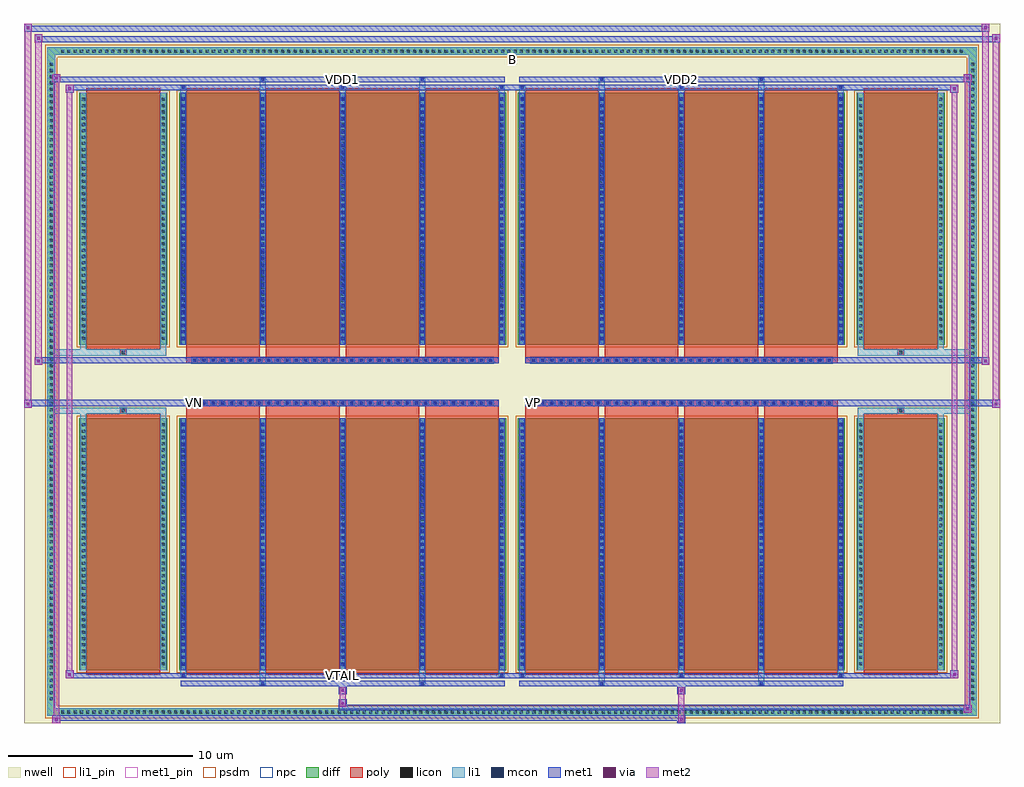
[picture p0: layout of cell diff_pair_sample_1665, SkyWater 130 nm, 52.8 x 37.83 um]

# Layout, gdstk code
import gdstk
lib = gdstk.Library(unit=1e-6, precision=5e-09)
def R(c, l, rs):  # rectangles x0, y0, x1, y1
    for r in rs: c.add(gdstk.rectangle(r[:2], r[2:], *l))
def A(c, l, x, y, w, h, nx, ny, dx, dy):  # array of equal rectangles
    R(c, l, [(x+i*dx, y+j*dy, x+i*dx+w, y+j*dy+h) for i in range(nx) for j in range(ny)])
def P(c, l, *ps):  # polygons
    for p in ps: c.add(gdstk.Polygon(p, *l))
nwell = (64, 20)
diff = (65, 20)
poly = (66, 20)
licon = (66, 44)
li1_pin = (67, 16)
li1 = (67, 20)
mcon = (67, 44)
met1_pin = (68, 16)
met1 = (68, 20)
via = (68, 44)
met2 = (69, 20)
psdm = (94, 20)
npc = (95, 20)

diff_pair_sample_1665 = lib.new_cell('diff_pair_sample_1665')
R(diff_pair_sample_1665, nwell, [(-26.4,-18.48,26.4,19.35), (-23.72,-16.67,-0.01,-0.795), (0.01,-16.67,23.72,-0.795), (-23.72,0.795,-0.01,16.67), (0.01,0.795,23.72,16.67)])
A(diff_pair_sample_1665, diff, -24.515, -18.08, 0.41, 0.41, 144, 2, 0.34, 35.75)
A(diff_pair_sample_1665, diff, -25.13, -17.375, 0.41, 0.41, 1, 102, 0, 0.34)
A(diff_pair_sample_1665, diff, 24.72, -17.375, 0.41, 0.41, 1, 102, 0, 0.34)
R(diff_pair_sample_1665, diff, [(-24.515,-18.08,24.515,-17.67), (-25.13,-17.375,-24.72,17.375), (24.72,-17.375,25.13,17.375), (-23.41,-15.625,-18.65,-1.985), (-18.01,-15.625,-0.32,-1.985), (0.32,-15.625,18.01,-1.985), (18.65,-15.625,23.41,-1.985), (-23.41,1.985,-18.65,15.625), (-18.01,1.985,-0.32,15.625), (0.32,1.985,18.01,15.625), (18.65,1.985,23.41,15.625), (-24.515,17.67,24.515,18.08)])
P(diff_pair_sample_1665, diff, [(25.13,18.08),(-25.13,18.08),(-25.13,-17.67),(-24.72,-17.67),(-24.72,17.67),(24.72,17.67),(24.72,-17.67),(-24.72,-17.67),(-25.13,-17.67),(-25.13,-18.08),(25.13,-18.08)])
A(diff_pair_sample_1665, poly, -17.62, -15.875, 3.98, 14.14, 4, 2, 4.31, 17.61)
A(diff_pair_sample_1665, poly, 0.71, -15.875, 3.98, 14.14, 4, 2, 4.31, 17.61)
A(diff_pair_sample_1665, poly, -17.62, -1.735, 3.98, 0.41, 4, 2, 4.31, 3.06)
A(diff_pair_sample_1665, poly, 0.71, -1.735, 3.98, 0.41, 4, 2, 4.31, 3.06)
A(diff_pair_sample_1665, poly, -17.33, -1.325, 0.33, 0.33, 33, 2, 0.5, 2.32)
A(diff_pair_sample_1665, poly, 1, -1.325, 0.33, 0.33, 33, 2, 0.5, 2.32)
R(diff_pair_sample_1665, poly, [(-23.02,-15.875,-19.04,-1.735), (19.04,-15.875,23.02,-1.735), (-21.195,-1.735,-20.865,-1.405), (-21.195,-1.735,-20.865,-1.405), (20.865,-1.735,21.195,-1.405), (20.865,-1.735,21.195,-1.405), (-17.62,-1.325,-0.71,-0.995), (0.71,-1.325,17.62,-0.995), (-17.62,0.995,-0.71,1.325), (0.71,0.995,17.62,1.325), (-21.195,1.405,-20.865,1.735), (-21.195,1.405,-20.865,1.735), (20.865,1.405,21.195,1.735), (20.865,1.405,21.195,1.735), (-23.02,1.735,-19.04,15.875), (19.04,1.735,23.02,15.875)])
A(diff_pair_sample_1665, licon, -24.395, -17.96, 0.17, 0.17, 144, 2, 0.34, 35.75)
A(diff_pair_sample_1665, licon, -25.01, -17.255, 0.17, 0.17, 1, 102, 0, 0.34)
A(diff_pair_sample_1665, licon, 24.84, -17.255, 0.17, 0.17, 1, 102, 0, 0.34)
A(diff_pair_sample_1665, licon, -23.27, -15.35, 0.17, 0.17, 1, 39, 0, 0.34)
A(diff_pair_sample_1665, licon, -18.96, -15.35, 0.17, 0.17, 1, 39, 0, 0.34)
A(diff_pair_sample_1665, licon, -17.87, -15.35, 0.17, 0.17, 5, 39, 4.31, 0.34)
A(diff_pair_sample_1665, licon, 0.46, -15.35, 0.17, 0.17, 5, 39, 4.31, 0.34)
A(diff_pair_sample_1665, licon, 18.79, -15.35, 0.17, 0.17, 1, 39, 0, 0.34)
A(diff_pair_sample_1665, licon, 23.1, -15.35, 0.17, 0.17, 1, 39, 0, 0.34)
A(diff_pair_sample_1665, licon, -17.25, -1.245, 0.17, 0.17, 33, 2, 0.5, 2.32)
A(diff_pair_sample_1665, licon, 1.08, -1.245, 0.17, 0.17, 33, 2, 0.5, 2.32)
A(diff_pair_sample_1665, licon, -23.27, 2.26, 0.17, 0.17, 1, 39, 0, 0.34)
A(diff_pair_sample_1665, licon, -18.96, 2.26, 0.17, 0.17, 1, 39, 0, 0.34)
A(diff_pair_sample_1665, licon, -17.87, 2.26, 0.17, 0.17, 5, 39, 4.31, 0.34)
A(diff_pair_sample_1665, licon, 0.46, 2.26, 0.17, 0.17, 5, 39, 4.31, 0.34)
A(diff_pair_sample_1665, licon, 18.79, 2.26, 0.17, 0.17, 1, 39, 0, 0.34)
A(diff_pair_sample_1665, licon, 23.1, 2.26, 0.17, 0.17, 1, 39, 0, 0.34)
R(diff_pair_sample_1665, licon, [(-21.115,-1.655,-20.945,-1.485), (20.945,-1.655,21.115,-1.485), (-21.115,1.485,-20.945,1.655), (20.945,1.485,21.115,1.655)])
R(diff_pair_sample_1665, li1_pin, [(-0.25,17.17,0.25,17.67)])
A(diff_pair_sample_1665, li1, -24.475, -18.04, 0.33, 0.33, 144, 2, 0.34, 35.75)
A(diff_pair_sample_1665, li1, -25.09, -17.335, 0.33, 0.33, 1, 102, 0, 0.34)
A(diff_pair_sample_1665, li1, 24.76, -17.335, 0.33, 0.33, 1, 102, 0, 0.34)
A(diff_pair_sample_1665, li1, -17.95, -16, 0.33, 0.375, 3, 2, 8.62, 31.625)
A(diff_pair_sample_1665, li1, -17.87, -16, 0.17, 0.17, 3, 2, 8.62, 31.83)
A(diff_pair_sample_1665, li1, 0.38, -16, 0.33, 0.375, 3, 2, 8.62, 31.625)
A(diff_pair_sample_1665, li1, 0.46, -16, 0.17, 0.17, 3, 2, 8.62, 31.83)
A(diff_pair_sample_1665, li1, -17.95, -15.625, 0.33, 13.64, 5, 2, 4.31, 17.61)
A(diff_pair_sample_1665, li1, 0.38, -15.625, 0.33, 13.64, 5, 2, 4.31, 17.61)
A(diff_pair_sample_1665, li1, -23.35, -15.43, 0.33, 0.33, 1, 39, 0, 0.34)
A(diff_pair_sample_1665, li1, -19.04, -15.43, 0.33, 0.33, 1, 39, 0, 0.34)
A(diff_pair_sample_1665, li1, -17.95, -15.43, 0.33, 0.33, 5, 39, 4.31, 0.34)
A(diff_pair_sample_1665, li1, 0.38, -15.43, 0.33, 0.33, 5, 39, 4.31, 0.34)
A(diff_pair_sample_1665, li1, 18.71, -15.43, 0.33, 0.33, 1, 39, 0, 0.34)
A(diff_pair_sample_1665, li1, 23.02, -15.43, 0.33, 0.33, 1, 39, 0, 0.34)
A(diff_pair_sample_1665, li1, -17.87, -15.37, 0.17, 0.17, 5, 37, 4.31, 0.36)
A(diff_pair_sample_1665, li1, -17.87, -15.37, 0.17, 13.13, 5, 2, 4.31, 17.61)
A(diff_pair_sample_1665, li1, 0.46, -15.37, 0.17, 0.17, 5, 37, 4.31, 0.36)
A(diff_pair_sample_1665, li1, 0.46, -15.37, 0.17, 13.13, 5, 2, 4.31, 17.61)
A(diff_pair_sample_1665, li1, -17.33, -1.325, 0.33, 0.33, 33, 2, 0.5, 2.32)
A(diff_pair_sample_1665, li1, 1, -1.325, 0.33, 0.33, 33, 2, 0.5, 2.32)
A(diff_pair_sample_1665, li1, -23.35, 2.18, 0.33, 0.33, 1, 39, 0, 0.34)
A(diff_pair_sample_1665, li1, -19.04, 2.18, 0.33, 0.33, 1, 39, 0, 0.34)
A(diff_pair_sample_1665, li1, -17.95, 2.18, 0.33, 0.33, 5, 39, 4.31, 0.34)
A(diff_pair_sample_1665, li1, 0.38, 2.18, 0.33, 0.33, 5, 39, 4.31, 0.34)
A(diff_pair_sample_1665, li1, 18.71, 2.18, 0.33, 0.33, 1, 39, 0, 0.34)
A(diff_pair_sample_1665, li1, 23.02, 2.18, 0.33, 0.33, 1, 39, 0, 0.34)
A(diff_pair_sample_1665, li1, -17.87, 2.24, 0.17, 0.17, 5, 37, 4.31, 0.36)
A(diff_pair_sample_1665, li1, 0.46, 2.24, 0.17, 0.17, 5, 37, 4.31, 0.36)
R(diff_pair_sample_1665, li1, [(-25.13,-18.08,-24.72,-17.67), (-25.13,-18.08,-24.72,-17.67), (-24.72,-18.08,24.72,-17.67), (24.72,-18.08,25.13,-17.67), (24.72,-18.08,25.13,-17.67), (-25.13,-17.67,-24.72,17.67), (24.72,-17.67,25.13,17.67), (-13.64,-16.43,-13.31,-15.625), (-13.56,-16.43,-13.39,-16.26), (-5.02,-16.43,-4.69,-15.625), (-4.94,-16.43,-4.77,-16.26), (4.69,-16.43,5.02,-15.625), (4.77,-16.43,4.94,-16.26), (13.31,-16.43,13.64,-15.625), (13.39,-16.43,13.56,-16.26), (-23.35,-15.625,-23.02,-1.985), (-19.04,-15.625,-18.71,-1.985), (18.71,-15.625,19.04,-1.985), (23.02,-15.625,23.35,-1.985), (-23.35,-1.985,-23.02,-1.405), (-19.04,-1.985,-18.71,-1.405), (18.71,-1.985,19.04,-1.405), (23.02,-1.985,23.35,-1.405), (-25.13,-1.735,-21.195,-1.405), (-23.35,-1.735,-21.195,-1.405), (-21.195,-1.735,-20.865,-1.405), (-20.865,-1.735,-18.71,-1.405), (18.71,-1.735,20.865,-1.405), (20.865,-1.735,21.195,-1.405), (20.865,-1.735,25.13,-1.405), (21.195,-1.735,23.35,-1.405), (-25.13,1.405,-21.195,1.735), (-23.35,1.405,-21.195,1.735), (-23.35,1.405,-23.02,1.985), (-21.195,1.405,-20.865,1.735), (-20.865,1.405,-18.71,1.735), (-19.04,1.405,-18.71,1.985), (18.71,1.405,20.865,1.735), (18.71,1.405,19.04,1.985), (20.865,1.405,21.195,1.735), (20.865,1.405,25.13,1.735), (21.195,1.405,23.35,1.735), (23.02,1.405,23.35,1.985), (-23.35,1.985,-23.02,15.625), (-19.04,1.985,-18.71,15.625), (18.71,1.985,19.04,15.625), (23.02,1.985,23.35,15.625), (-13.64,15.625,-13.31,16.43), (-5.02,15.625,-4.69,16.43), (4.69,15.625,5.02,16.43), (13.31,15.625,13.64,16.43), (-13.56,16.26,-13.39,16.43), (-4.94,16.26,-4.77,16.43), (4.77,16.26,4.94,16.43), (13.39,16.26,13.56,16.43), (-25.13,17.67,-24.72,18.08), (-25.13,17.67,-24.72,18.08), (-24.72,17.67,24.72,18.08), (24.72,17.67,25.13,18.08), (24.72,17.67,25.13,18.08)])
A(diff_pair_sample_1665, mcon, -17.87, -16, 0.17, 0.17, 3, 2, 8.62, 31.83)
A(diff_pair_sample_1665, mcon, 0.46, -16, 0.17, 0.17, 3, 2, 8.62, 31.83)
A(diff_pair_sample_1665, mcon, -17.87, -15.37, 0.17, 0.17, 5, 37, 4.31, 0.36)
A(diff_pair_sample_1665, mcon, 0.46, -15.37, 0.17, 0.17, 5, 37, 4.31, 0.36)
A(diff_pair_sample_1665, mcon, -17.25, -1.245, 0.17, 0.17, 33, 2, 0.5, 2.32)
A(diff_pair_sample_1665, mcon, 1.08, -1.245, 0.17, 0.17, 33, 2, 0.5, 2.32)
A(diff_pair_sample_1665, mcon, -17.87, 2.24, 0.17, 0.17, 5, 37, 4.31, 0.36)
A(diff_pair_sample_1665, mcon, 0.46, 2.24, 0.17, 0.17, 5, 37, 4.31, 0.36)
R(diff_pair_sample_1665, mcon, [(-13.56,-16.43,-13.39,-16.26), (-4.94,-16.43,-4.77,-16.26), (4.77,-16.43,4.94,-16.26), (13.39,-16.43,13.56,-16.26), (-13.56,16.26,-13.39,16.43), (-4.94,16.26,-4.77,16.43), (4.77,16.26,4.94,16.43), (13.39,16.26,13.56,16.43)])
R(diff_pair_sample_1665, met1_pin, [(-9.3,-16.04,-9.03,-15.77), (-17.3,-1.285,-17.03,-1.015), (1.03,-1.285,1.3,-1.015), (-9.3,16.22,-9.03,16.49), (9.03,16.22,9.3,16.49)])
A(diff_pair_sample_1665, met1, -17.93, -16.06, 0.29, 0.29, 3, 2, 8.62, 31.83)
A(diff_pair_sample_1665, met1, 0.4, -16.06, 0.29, 0.29, 3, 2, 8.62, 31.83)
A(diff_pair_sample_1665, met1, -17.93, -15.625, 0.29, 13.64, 5, 2, 4.31, 17.61)
A(diff_pair_sample_1665, met1, 0.4, -15.625, 0.29, 13.64, 5, 2, 4.31, 17.61)
A(diff_pair_sample_1665, met1, -17.93, -15.43, 0.29, 0.29, 5, 37, 4.31, 0.36)
A(diff_pair_sample_1665, met1, 0.4, -15.43, 0.29, 0.29, 5, 37, 4.31, 0.36)
A(diff_pair_sample_1665, met1, -17.31, -1.305, 0.29, 0.29, 33, 2, 0.5, 2.32)
A(diff_pair_sample_1665, met1, 1.02, -1.305, 0.29, 0.29, 33, 2, 0.5, 2.32)
A(diff_pair_sample_1665, met1, -17.93, 2.18, 0.29, 0.29, 5, 37, 4.31, 0.36)
A(diff_pair_sample_1665, met1, 0.4, 2.18, 0.29, 0.29, 5, 37, 4.31, 0.36)
R(diff_pair_sample_1665, met1, [(-24.86,-18.48,-24.43,-18.05), (8.95,-18.48,9.38,-18.05), (-24.86,-18.34,9.38,-18.05), (24.43,-17.91,24.86,-17.48), (-9.38,-17.77,24.86,-17.48), (-9.38,-17.63,-8.95,-17.2), (-9.38,-16.92,-8.95,-16.49), (8.95,-16.92,9.38,-16.49), (-17.93,-16.49,-0.4,-16.2), (-13.62,-16.49,-13.33,-16.2), (-5,-16.49,-4.71,-16.2), (0.4,-16.49,17.93,-16.2), (4.71,-16.49,5,-16.2), (13.33,-16.49,13.62,-16.2), (-24.15,-16.06,-23.72,-15.63), (-24.15,-16.06,-17.93,-15.77), (-17.93,-16.06,-0.4,-15.77), (-0.4,-16.06,0.4,-15.77), (0.4,-16.06,17.93,-15.77), (17.93,-16.06,24.15,-15.77), (23.72,-16.06,24.15,-15.63), (-26.4,-1.425,-25.97,-0.995), (25.97,-1.425,26.4,-0.995), (-26.4,-1.325,-0.71,-0.995), (-17.62,-1.325,-0.71,-0.995), (0.71,-1.325,17.62,-0.995), (0.71,-1.325,26.4,-0.995), (-25.83,0.895,-25.4,1.325), (25.4,0.895,25.83,1.325), (-25.83,0.995,-17.62,1.325), (-17.62,0.995,-0.71,1.325), (0.71,0.995,17.62,1.325), (17.62,0.995,25.83,1.325), (-24.15,15.63,-23.72,16.06), (23.72,15.63,24.15,16.06), (-24.15,15.77,-17.93,16.06), (-17.93,15.77,-0.4,16.06), (-0.4,15.77,0.4,16.06), (0.4,15.77,17.93,16.06), (17.93,15.77,24.15,16.06), (-24.86,16.2,-24.43,16.63), (-24.86,16.2,-17.93,16.49), (-17.93,16.2,-0.4,16.49), (-13.62,16.2,-13.33,16.49), (-5,16.2,-4.71,16.49), (0.4,16.2,17.93,16.49), (4.71,16.2,5,16.49), (13.33,16.2,13.62,16.49), (17.93,16.2,24.86,16.49), (24.43,16.2,24.86,16.63), (-25.83,18.35,-25.4,18.78), (-25.83,18.35,-23.72,18.68), (-23.72,18.35,23.72,18.68), (23.72,18.35,26.4,18.68), (25.97,18.35,26.4,18.78), (-26.4,18.92,-25.97,19.35), (-26.4,18.92,-23.72,19.25), (-23.72,18.92,23.72,19.25), (23.72,18.92,25.83,19.25), (25.4,18.92,25.83,19.35)])
R(diff_pair_sample_1665, via, [(-24.72,-18.34,-24.57,-18.19), (9.09,-18.34,9.24,-18.19), (24.57,-17.77,24.72,-17.62), (-9.24,-17.49,-9.09,-17.34), (-9.24,-16.78,-9.09,-16.63), (9.09,-16.78,9.24,-16.63), (-24.01,-15.92,-23.86,-15.77), (23.86,-15.92,24.01,-15.77), (-26.26,-1.285,-26.11,-1.135), (26.11,-1.285,26.26,-1.135), (-25.69,1.035,-25.54,1.185), (25.54,1.035,25.69,1.185), (-24.01,15.77,-23.86,15.92), (23.86,15.77,24.01,15.92), (-24.72,16.34,-24.57,16.49), (24.57,16.34,24.72,16.49), (-25.69,18.49,-25.54,18.64), (26.11,18.49,26.26,18.64), (-26.26,19.06,-26.11,19.21), (25.54,19.06,25.69,19.21)])
R(diff_pair_sample_1665, met2, [(-24.86,-18.48,-24.43,-18.05), (-24.79,-18.48,-24.5,16.63), (-24.5,-18.48,-24.43,-18.05), (-24.81,-18.43,-24.48,-18.1), (9,-18.43,9.33,-18.1), (9,-18.1,9.33,-16.87), (24.43,-17.91,24.86,-17.48), (24.5,-17.91,24.79,16.63), (24.79,-17.91,24.86,-17.48), (24.48,-17.86,24.81,-17.53), (-9.33,-17.58,-9,-17.25), (-9.33,-17.25,-9,-16.87), (-9.33,-16.87,-9,-16.54), (9,-16.87,9.33,-16.54), (-24.15,-16.06,-23.72,-15.63), (-24.08,-16.06,-23.79,16.06), (-23.79,-16.06,-23.72,-15.63), (23.72,-16.06,24.15,-15.63), (23.79,-16.06,24.08,16.06), (24.08,-16.06,24.15,-15.63), (-24.1,-16.01,-23.77,-15.68), (23.77,-16.01,24.1,-15.68), (-26.4,-1.425,-25.97,-0.995), (-26.35,-1.425,-26.02,19.35), (-26.02,-1.425,-25.97,-0.995), (25.97,-1.425,26.4,-0.995), (26.02,-1.425,26.35,18.78), (26.35,-1.425,26.4,-0.995), (-26.35,-1.375,-26.02,-1.045), (26.02,-1.375,26.35,-1.045), (-25.83,0.895,-25.4,1.325), (-25.78,0.895,-25.45,18.78), (-25.45,0.895,-25.4,1.325), (25.4,0.895,25.83,1.325), (25.45,0.895,25.78,19.35), (25.78,0.895,25.83,1.325), (-25.78,0.945,-25.45,1.275), (25.45,0.945,25.78,1.275), (-24.15,15.63,-23.72,16.06), (-23.79,15.63,-23.72,16.06), (23.72,15.63,24.15,16.06), (24.08,15.63,24.15,16.06), (-24.1,15.68,-23.77,16.01), (23.77,15.68,24.1,16.01), (-24.86,16.2,-24.43,16.63), (-24.5,16.2,-24.43,16.63), (24.43,16.2,24.86,16.63), (24.79,16.2,24.86,16.63), (-24.81,16.25,-24.48,16.58), (24.48,16.25,24.81,16.58), (-25.83,18.35,-25.4,18.78), (-25.45,18.35,-25.4,18.78), (25.97,18.35,26.4,18.78), (26.35,18.35,26.4,18.78), (-25.78,18.4,-25.45,18.73), (26.02,18.4,26.35,18.73), (-26.4,18.92,-25.97,19.35), (-26.02,18.92,-25.97,19.35), (25.4,18.92,25.83,19.35), (25.78,18.92,25.83,19.35), (-26.35,18.97,-26.02,19.3), (25.45,18.97,25.78,19.3)])
R(diff_pair_sample_1665, psdm, [(-23.54,-15.755,-18.52,-1.855), (-18.14,-15.755,-0.19,-1.855), (0.19,-15.755,18.14,-1.855), (18.52,-15.755,23.54,-1.855), (-23.54,1.855,-18.52,15.755), (-18.14,1.855,-0.19,15.755), (0.19,1.855,18.14,15.755), (18.52,1.855,23.54,15.755)])
P(diff_pair_sample_1665, psdm, [(25.26,18.21),(-25.26,18.21),(-25.26,-17.54),(-24.59,-17.54),(-24.59,17.54),(24.59,17.54),(24.59,-17.54),(-24.59,-17.54),(-25.26,-17.54),(-25.26,-18.21),(25.26,-18.21)])
A(diff_pair_sample_1665, npc, -17.35, -1.345, 0.37, 0.37, 33, 2, 0.5, 2.32)
A(diff_pair_sample_1665, npc, 0.98, -1.345, 0.37, 0.37, 33, 2, 0.5, 2.32)
R(diff_pair_sample_1665, npc, [(-21.215,-1.755,-20.845,-1.385), (20.845,-1.755,21.215,-1.385), (-17.35,-1.345,-16.48,-0.975), (-17.35,-1.345,-16.48,-0.975), (-16.85,-1.345,-15.98,-0.975), (-16.85,-1.345,-15.98,-0.975), (-16.35,-1.345,-15.48,-0.975), (-16.35,-1.345,-15.48,-0.975), (-15.85,-1.345,-14.98,-0.975), (-15.85,-1.345,-14.98,-0.975), (-15.35,-1.345,-14.48,-0.975), (-15.35,-1.345,-14.48,-0.975), (-14.85,-1.345,-13.98,-0.975), (-14.85,-1.345,-13.98,-0.975), (-14.35,-1.345,-13.48,-0.975), (-14.35,-1.345,-13.48,-0.975), (-13.85,-1.345,-12.98,-0.975), (-13.85,-1.345,-12.98,-0.975), (-13.35,-1.345,-12.48,-0.975), (-13.35,-1.345,-12.48,-0.975), (-12.85,-1.345,-11.98,-0.975), (-12.85,-1.345,-11.98,-0.975), (-12.35,-1.345,-11.48,-0.975), (-12.35,-1.345,-11.48,-0.975), (-11.85,-1.345,-10.98,-0.975), (-11.85,-1.345,-10.98,-0.975), (-11.35,-1.345,-10.48,-0.975), (-11.35,-1.345,-10.48,-0.975), (-10.85,-1.345,-9.98,-0.975), (-10.85,-1.345,-9.98,-0.975), (-10.35,-1.345,-9.48,-0.975), (-10.35,-1.345,-9.48,-0.975), (-9.85,-1.345,-8.98,-0.975), (-9.85,-1.345,-8.98,-0.975), (-9.35,-1.345,-8.48,-0.975), (-9.35,-1.345,-8.48,-0.975), (-8.85,-1.345,-7.98,-0.975), (-8.85,-1.345,-7.98,-0.975), (-8.35,-1.345,-7.48,-0.975), (-8.35,-1.345,-7.48,-0.975), (-7.85,-1.345,-6.98,-0.975), (-7.85,-1.345,-6.98,-0.975), (-7.35,-1.345,-6.48,-0.975), (-7.35,-1.345,-6.48,-0.975), (-6.85,-1.345,-5.98,-0.975), (-6.85,-1.345,-5.98,-0.975), (-6.35,-1.345,-5.48,-0.975), (-6.35,-1.345,-5.48,-0.975), (-5.85,-1.345,-4.98,-0.975), (-5.85,-1.345,-4.98,-0.975), (-5.35,-1.345,-4.48,-0.975), (-5.35,-1.345,-4.48,-0.975), (-4.85,-1.345,-3.98,-0.975), (-4.85,-1.345,-3.98,-0.975), (-4.35,-1.345,-3.48,-0.975), (-4.35,-1.345,-3.48,-0.975), (-3.85,-1.345,-2.98,-0.975), (-3.85,-1.345,-2.98,-0.975), (-3.35,-1.345,-2.48,-0.975), (-3.35,-1.345,-2.48,-0.975), (-2.85,-1.345,-1.98,-0.975), (-2.85,-1.345,-1.98,-0.975), (-2.35,-1.345,-1.48,-0.975), (-2.35,-1.345,-1.48,-0.975), (-1.85,-1.345,-0.98,-0.975), (-1.85,-1.345,-0.98,-0.975), (0.98,-1.345,1.85,-0.975), (0.98,-1.345,1.85,-0.975), (1.48,-1.345,2.35,-0.975), (1.48,-1.345,2.35,-0.975), (1.98,-1.345,2.85,-0.975), (1.98,-1.345,2.85,-0.975), (2.48,-1.345,3.35,-0.975), (2.48,-1.345,3.35,-0.975), (2.98,-1.345,3.85,-0.975), (2.98,-1.345,3.85,-0.975), (3.48,-1.345,4.35,-0.975), (3.48,-1.345,4.35,-0.975), (3.98,-1.345,4.85,-0.975), (3.98,-1.345,4.85,-0.975), (4.48,-1.345,5.35,-0.975), (4.48,-1.345,5.35,-0.975), (4.98,-1.345,5.85,-0.975), (4.98,-1.345,5.85,-0.975), (5.48,-1.345,6.35,-0.975), (5.48,-1.345,6.35,-0.975), (5.98,-1.345,6.85,-0.975), (5.98,-1.345,6.85,-0.975), (6.48,-1.345,7.35,-0.975), (6.48,-1.345,7.35,-0.975), (6.98,-1.345,7.85,-0.975), (6.98,-1.345,7.85,-0.975), (7.48,-1.345,8.35,-0.975), (7.48,-1.345,8.35,-0.975), (7.98,-1.345,8.85,-0.975), (7.98,-1.345,8.85,-0.975), (8.48,-1.345,9.35,-0.975), (8.48,-1.345,9.35,-0.975), (8.98,-1.345,9.85,-0.975), (8.98,-1.345,9.85,-0.975), (9.48,-1.345,10.35,-0.975), (9.48,-1.345,10.35,-0.975), (9.98,-1.345,10.85,-0.975), (9.98,-1.345,10.85,-0.975), (10.48,-1.345,11.35,-0.975), (10.48,-1.345,11.35,-0.975), (10.98,-1.345,11.85,-0.975), (10.98,-1.345,11.85,-0.975), (11.48,-1.345,12.35,-0.975), (11.48,-1.345,12.35,-0.975), (11.98,-1.345,12.85,-0.975), (11.98,-1.345,12.85,-0.975), (12.48,-1.345,13.35,-0.975), (12.48,-1.345,13.35,-0.975), (12.98,-1.345,13.85,-0.975), (12.98,-1.345,13.85,-0.975), (13.48,-1.345,14.35,-0.975), (13.48,-1.345,14.35,-0.975), (13.98,-1.345,14.85,-0.975), (13.98,-1.345,14.85,-0.975), (14.48,-1.345,15.35,-0.975), (14.48,-1.345,15.35,-0.975), (14.98,-1.345,15.85,-0.975), (14.98,-1.345,15.85,-0.975), (15.48,-1.345,16.35,-0.975), (15.48,-1.345,16.35,-0.975), (15.98,-1.345,16.85,-0.975), (15.98,-1.345,16.85,-0.975), (16.48,-1.345,17.35,-0.975), (16.48,-1.345,17.35,-0.975), (-17.35,0.975,-16.48,1.345), (-17.35,0.975,-16.48,1.345), (-16.85,0.975,-15.98,1.345), (-16.85,0.975,-15.98,1.345), (-16.35,0.975,-15.48,1.345), (-16.35,0.975,-15.48,1.345), (-15.85,0.975,-14.98,1.345), (-15.85,0.975,-14.98,1.345), (-15.35,0.975,-14.48,1.345), (-15.35,0.975,-14.48,1.345), (-14.85,0.975,-13.98,1.345), (-14.85,0.975,-13.98,1.345), (-14.35,0.975,-13.48,1.345), (-14.35,0.975,-13.48,1.345), (-13.85,0.975,-12.98,1.345), (-13.85,0.975,-12.98,1.345), (-13.35,0.975,-12.48,1.345), (-13.35,0.975,-12.48,1.345), (-12.85,0.975,-11.98,1.345), (-12.85,0.975,-11.98,1.345), (-12.35,0.975,-11.48,1.345), (-12.35,0.975,-11.48,1.345), (-11.85,0.975,-10.98,1.345), (-11.85,0.975,-10.98,1.345), (-11.35,0.975,-10.48,1.345), (-11.35,0.975,-10.48,1.345), (-10.85,0.975,-9.98,1.345), (-10.85,0.975,-9.98,1.345), (-10.35,0.975,-9.48,1.345), (-10.35,0.975,-9.48,1.345), (-9.85,0.975,-8.98,1.345), (-9.85,0.975,-8.98,1.345), (-9.35,0.975,-8.48,1.345), (-9.35,0.975,-8.48,1.345), (-8.85,0.975,-7.98,1.345), (-8.85,0.975,-7.98,1.345), (-8.35,0.975,-7.48,1.345), (-8.35,0.975,-7.48,1.345), (-7.85,0.975,-6.98,1.345), (-7.85,0.975,-6.98,1.345), (-7.35,0.975,-6.48,1.345), (-7.35,0.975,-6.48,1.345), (-6.85,0.975,-5.98,1.345), (-6.85,0.975,-5.98,1.345), (-6.35,0.975,-5.48,1.345), (-6.35,0.975,-5.48,1.345), (-5.85,0.975,-4.98,1.345), (-5.85,0.975,-4.98,1.345), (-5.35,0.975,-4.48,1.345), (-5.35,0.975,-4.48,1.345), (-4.85,0.975,-3.98,1.345), (-4.85,0.975,-3.98,1.345), (-4.35,0.975,-3.48,1.345), (-4.35,0.975,-3.48,1.345), (-3.85,0.975,-2.98,1.345), (-3.85,0.975,-2.98,1.345), (-3.35,0.975,-2.48,1.345), (-3.35,0.975,-2.48,1.345), (-2.85,0.975,-1.98,1.345), (-2.85,0.975,-1.98,1.345), (-2.35,0.975,-1.48,1.345), (-2.35,0.975,-1.48,1.345), (-1.85,0.975,-0.98,1.345), (-1.85,0.975,-0.98,1.345), (0.98,0.975,1.85,1.345), (0.98,0.975,1.85,1.345), (1.48,0.975,2.35,1.345), (1.48,0.975,2.35,1.345), (1.98,0.975,2.85,1.345), (1.98,0.975,2.85,1.345), (2.48,0.975,3.35,1.345), (2.48,0.975,3.35,1.345), (2.98,0.975,3.85,1.345), (2.98,0.975,3.85,1.345), (3.48,0.975,4.35,1.345), (3.48,0.975,4.35,1.345), (3.98,0.975,4.85,1.345), (3.98,0.975,4.85,1.345), (4.48,0.975,5.35,1.345), (4.48,0.975,5.35,1.345), (4.98,0.975,5.85,1.345), (4.98,0.975,5.85,1.345), (5.48,0.975,6.35,1.345), (5.48,0.975,6.35,1.345), (5.98,0.975,6.85,1.345), (5.98,0.975,6.85,1.345), (6.48,0.975,7.35,1.345), (6.48,0.975,7.35,1.345), (6.98,0.975,7.85,1.345), (6.98,0.975,7.85,1.345), (7.48,0.975,8.35,1.345), (7.48,0.975,8.35,1.345), (7.98,0.975,8.85,1.345), (7.98,0.975,8.85,1.345), (8.48,0.975,9.35,1.345), (8.48,0.975,9.35,1.345), (8.98,0.975,9.85,1.345), (8.98,0.975,9.85,1.345), (9.48,0.975,10.35,1.345), (9.48,0.975,10.35,1.345), (9.98,0.975,10.85,1.345), (9.98,0.975,10.85,1.345), (10.48,0.975,11.35,1.345), (10.48,0.975,11.35,1.345), (10.98,0.975,11.85,1.345), (10.98,0.975,11.85,1.345), (11.48,0.975,12.35,1.345), (11.48,0.975,12.35,1.345), (11.98,0.975,12.85,1.345), (11.98,0.975,12.85,1.345), (12.48,0.975,13.35,1.345), (12.48,0.975,13.35,1.345), (12.98,0.975,13.85,1.345), (12.98,0.975,13.85,1.345), (13.48,0.975,14.35,1.345), (13.48,0.975,14.35,1.345), (13.98,0.975,14.85,1.345), (13.98,0.975,14.85,1.345), (14.48,0.975,15.35,1.345), (14.48,0.975,15.35,1.345), (14.98,0.975,15.85,1.345), (14.98,0.975,15.85,1.345), (15.48,0.975,16.35,1.345), (15.48,0.975,16.35,1.345), (15.98,0.975,16.85,1.345), (15.98,0.975,16.85,1.345), (16.48,0.975,17.35,1.345), (16.48,0.975,17.35,1.345), (-21.215,1.385,-20.845,1.755), (20.845,1.385,21.215,1.755)])
diff_pair_sample_1665.add(gdstk.Label('VTAIL', (-9.165,-15.905), layer=68, texttype=5))
diff_pair_sample_1665.add(gdstk.Label('VN', (-17.165,-1.15), layer=68, texttype=5))
diff_pair_sample_1665.add(gdstk.Label('VP', (1.165,-1.15), layer=68, texttype=5))
diff_pair_sample_1665.add(gdstk.Label('B', (0,17.42), layer=67, texttype=5))
diff_pair_sample_1665.add(gdstk.Label('VDD2', (9.165,16.355), layer=68, texttype=5))
diff_pair_sample_1665.add(gdstk.Label('VDD1', (-9.165,16.355), layer=68, texttype=5))

lib.write_gds('diff_pair_sample_1665.gds')
